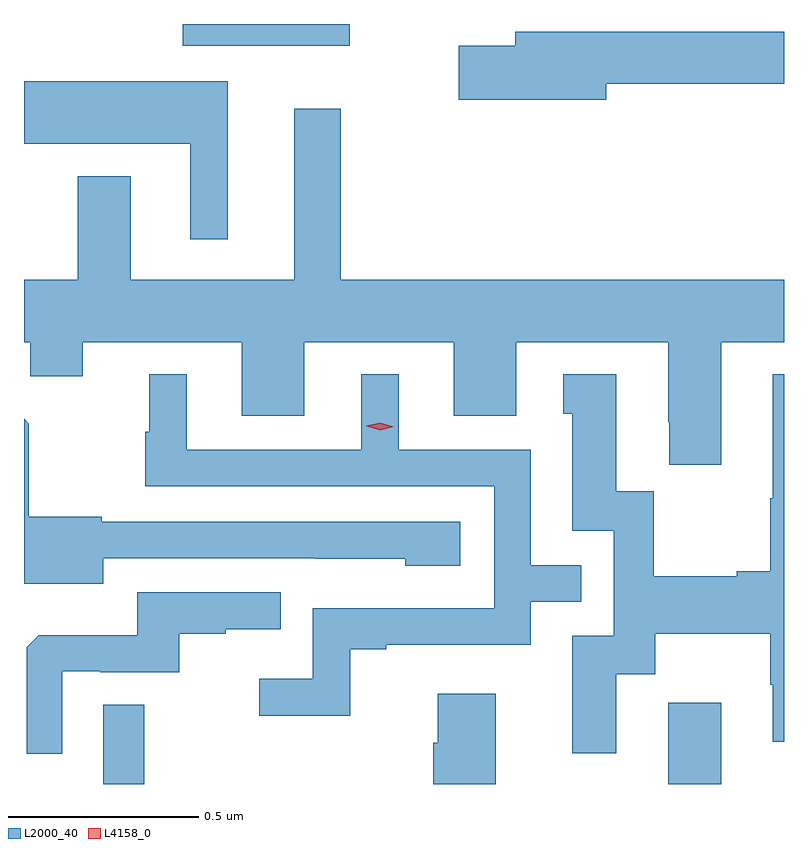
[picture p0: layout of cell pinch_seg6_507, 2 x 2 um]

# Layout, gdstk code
import gdstk
lib = gdstk.Library(unit=1e-6, precision=1e-09)
def R(c, l, rs):  # rectangles x0, y0, x1, y1
    for r in rs: c.add(gdstk.rectangle(r[:2], r[2:], *l))
def P(c, l, *ps):  # polygons
    for p in ps: c.add(gdstk.Polygon(p, *l))
L2000_40 = (2000, 40)
L4158_0 = (4158, 0)

pinch_seg6_507 = lib.new_cell('pinch_seg6_507')
R(pinch_seg6_507, L2000_40, [(886.122,952.833,886.231,953.042), (887.609,952.833,887.749,953.047), (886.332,954.776,886.771,954.833)])
P(pinch_seg6_507, L2000_40, [(887.446,954.676),(887.914,954.676),(887.914,954.812),(887.207,954.812),(887.207,954.776),(887.058,954.776),(887.058,954.634),(887.446,954.634)],
  [(886.45,954.682),(885.914,954.682),(885.914,954.518),(886.352,954.518),(886.352,954.267),(886.45,954.267)],
  [(887.749,953.996),(887.914,953.996),(887.914,954.16),(886.747,954.16),(886.747,954.61),(886.625,954.61),(886.625,954.16),(886.195,954.16),(886.195,954.433),(886.055,954.433),(886.055,954.16),(885.914,954.16),(885.914,953.996),(885.931,953.996),(885.931,953.906),(886.069,953.906),(886.069,953.996),(886.487,953.996),(886.487,953.802),(886.651,953.802),(886.651,953.996),(887.045,953.996),(887.045,953.802),(887.209,953.802),(887.209,953.996),(887.609,953.996),(887.609,953.785),(887.612,953.785),(887.612,953.673),(887.749,953.673)],
  [(887.473,953.122),(887.575,953.122),(887.575,953.228),(887.878,953.228),(887.878,953.094),(887.885,953.094),(887.885,952.944),(887.914,952.944),(887.914,953.911),(887.885,953.911),(887.885,953.585),(887.878,953.585),(887.878,953.393),(887.789,953.393),(887.789,953.38),(887.571,953.38),(887.571,953.603),(887.473,953.603),(887.473,953.911),(887.333,953.911),(887.333,953.808),(887.357,953.808),(887.357,953.499),(887.466,953.499),(887.466,953.223),(887.357,953.223),(887.357,952.914),(887.473,952.914)],
  [(886.773,953.187),(886.867,953.187),(886.867,953.199),(887.247,953.199),(887.247,953.313),(887.381,953.313),(887.381,953.409),(887.247,953.409),(887.247,953.712),(886.9,953.712),(886.9,953.911),(886.802,953.911),(886.802,953.712),(886.342,953.712),(886.342,953.911),(886.244,953.911),(886.244,953.76),(886.233,953.76),(886.233,953.616),(887.151,953.616),(887.151,953.295),(886.674,953.295),(886.674,953.11),(886.533,953.11),(886.533,953.012),(886.773,953.012)],
  [(886.123,953.427),(886.681,953.427),(886.681,953.426),(886.917,953.426),(886.917,953.408),(887.062,953.408),(887.062,953.523),(886.119,953.523),(886.119,953.536),(885.927,953.536),(885.927,953.781),(885.914,953.794),(885.914,953.36),(886.123,953.36)],
  [(886.014,953.13),(886.114,953.13),(886.114,953.127),(886.322,953.127),(886.322,953.229),(886.445,953.229),(886.445,953.24),(886.589,953.24),(886.589,953.337),(886.212,953.337),(886.212,953.225),(885.953,953.225),(885.921,953.193),(885.921,952.913),(886.014,952.913)],
  [(887.155,953.071),(887.003,953.071),(887.003,952.941),(886.991,952.941),(886.991,952.833),(887.155,952.833)])
P(pinch_seg6_507, L4158_0, [(886.851,953.764),(886.815,953.775),(886.815,953.776),(886.815,953.776),(886.851,953.784),(886.887,953.773),(886.887,953.773),(886.887,953.773)])

lib.write_gds('pinch_seg6_507.gds')
